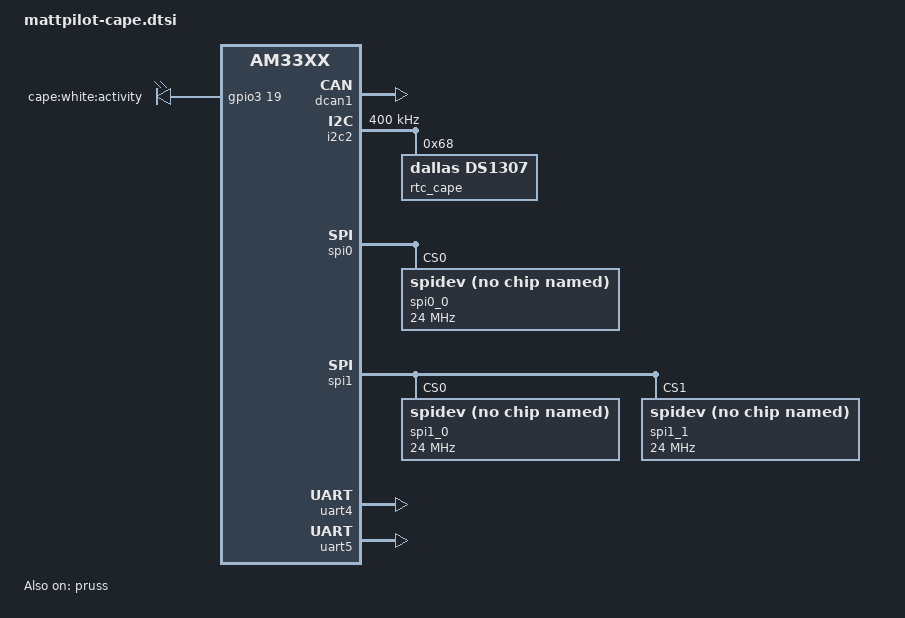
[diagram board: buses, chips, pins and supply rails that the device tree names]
#include "am33xx.dtsi"
#include "am335x-bone-common.dtsi"
#include <dt-bindings/board/am335x-bbw-bbb-base.h>
#include <dt-bindings/pinctrl/am33xx.h>

&am33xx_pinmux {
	dcan1_pins: pinmux_dcan1_pins {
		pinctrl-single,pins = <
			/* P9_26: uart1_rxd.d_can1_tx */
			BONE_P9_26 (PIN_OUTPUT_PULLUP | MUX_MODE2)
			/* P9_24: uart1_txd.d_can1_rx */
			BONE_P9_24 (PIN_INPUT_PULLUP | MUX_MODE2)
		>;
	};

	pru_pins: pinmux_pru_pins {
		pinctrl-single,pins = <
			0x03c 0x35	/* ecap0_in_pwm0_out.pr1_ecap0_ecap_capin, MODE5 | INPUT_PULLUP | PRU, PPM-sum, SBUS, DSM  */

			0x0e8 0x25	/* lcd_pclk.pr1_pru1_pru_r30_10, MODE5 | OUTPUT | PRU, CH_1 */
			0x0e0 0x25	/* lcd_vsync.pr1_pru1_pru_r30_8, MODE5 | OUTPUT | PRU, CH_2 */
			0x0ec 0x25	/* lcd_ac_bias_en.pr1_pru1_pru_r30_11, MODE5 | OUTPUT | PRU, CH_3 */
			0x0e4 0x25	/* lcd_hsync.pr1_pru1_pru_r30_9, MODE5 | OUTPUT | PRU, CH_4 */
			0x0bc 0x25	/* lcd_data7.pr1_pru1_pru_r30_7, MODE5 | OUTPUT | PRU, CH_5 */
			0x0b8 0x25	/* lcd_data6.pr1_pru1_pru_r30_6, MODE5 | OUTPUT | PRU, CH_6 */
			0x0b4 0x25	/* lcd_data5.pr1_pru1_pru_r30_5, MODE5 | OUTPUT | PRU, CH_7 */
			0x0b0 0x25	/* lcd_data4.pr1_pru1_pru_r30_4, MODE5 | OUTPUT | PRU, CH_8 */
			0x0ac 0x25	/* lcd_data3.pr1_pru1_pru_r30_3, MODE5 | OUTPUT | PRU, CH_9 */
			0x0a8 0x25	/* lcd_data2.pr1_pru1_pru_r30_2, MODE5 | OUTPUT | PRU, CH_10 */
			0x0a4 0x25	/* lcd_data1.pr1_pru1_pru_r30_1, MODE5 | OUTPUT | PRU, CH_11 */
			0x0a0 0x25	/* lcd_data0.pr1_pru1_pru_r30_0, MODE5 | OUTPUT | PRU, CH_12 */

			BONE_P8_12 (PIN_OUTPUT_PULLDOWN | MUX_MODE6) /* HC-SR04 TRIG */
			BONE_P8_16 (PIN_INPUT_PULLDOWN | MUX_MODE6) /* HC-SR04 ECHO */

			BONE_P9_25 (PIN_INPUT_PULLDOWN | MUX_MODE6) /* MPU9250 INT */
			>;
			
		};
		
	/* Matt */
	capeled_pins: pinmux_capeled_pins {
            pinctrl-single,pins = <
            0x1a4 0x7   /* gpio3_19 Cape led */
            >;
    };
    ctrl_pins: pinmux_ctrl_pins {
            pinctrl-single,pins = <
            0x3c  0xf   /* gpio1_15 Reset cards      | OUTPUT | NA | MODE7 */
            >;
    };

    timing_pins: pinmux_timing_pins {
            pinctrl-single,pins = <
            0x34 0x7    /* gpio1_13 sync out 100 Hz | OUTPUT | PULLDOWN |   */
            >;
    };
       
    i2c2_pins: pinmux_i2c2_pins {
            pinctrl-single,pins = <
            0x178 0x73  /* uart1_ctsn.i2c2_sda, SLEWCTRL_SLOW | INPUT_PULLUP | MODE3 */
            0x17c 0x73  /* uart1_rtsn.i2c2_scl, SLEWCTRL_SLOW | INPUT_PULLUP | MODE3 */
            >;
    };
    /* Matt End */

	spi0_pins: pinmux_spi0_pins {
		pinctrl-single,pins = <
			/* P9_22: spi0_sclk.spi0_sclk */
			BONE_P9_22 (PIN_INPUT_PULLUP | MUX_MODE0)
			/* P9_21: spi0_d0.spi0_d0 */
			BONE_P9_21 (PIN_INPUT_PULLUP | MUX_MODE0)
			/* P9_18: spi0_d1.spi0_d1 */
			BONE_P9_18 (PIN_OUTPUT_PULLUP | MUX_MODE0)
			/* P9_17: spi0_cs0.spi0_cs0 */
			BONE_P9_17 (PIN_OUTPUT_PULLUP | MUX_MODE0)
		>;
	};

	spi1_pins: pinmux_spi1_pins {
		pinctrl-single,pins = <
			/* P9_31: mcasp0_aclkx.spi1_sclk */
			BONE_P9_31 (PIN_INPUT_PULLUP | MUX_MODE3)

			/* P9_29: mcasp0_fsx.spi1_d0 */
			BONE_P9_29 (PIN_INPUT_PULLUP | MUX_MODE3)

			/* P9_30: mcasp0_axr0.spi1_d1 */
			BONE_P9_30 (PIN_OUTPUT_PULLUP | MUX_MODE3)

			/* P9_28: mcasp0_ahclkr.spi1_cs0 */
			BONE_P9_28 (PIN_OUTPUT_PULLUP | MUX_MODE3)

			/* P9_19: uart1_rtsn.spi1_cs1 */
/*			BONE_P9_19 (PIN_OUTPUT_PULLUP | MUX_MODE4)*/

			/* P9_42: ecap0_in_pwm0_out.spi1_cs1 */
			BONE_P9_42A (PIN_OUTPUT_PULLUP | MUX_MODE2)
		>;
	};

	uart4_pins: pinmux_uart4_pins {
		pinctrl-single,pins = <
			/* P9_11: gpmc_wait0.uart4_rxd_mux2 */
			BONE_P9_11 (PIN_INPUT_PULLUP | MUX_MODE6)
			/* P9_13: gpmc_wpn.uart4_txd_mux2  */
			BONE_P9_13 (PIN_OUTPUT_PULLDOWN | MUX_MODE6)
		>;
	};

	uart5_pins: pinmux_uart5_pins {
		pinctrl-single,pins = <
			/* P8_38: lcd_data9.uart5_rxd */
			BONE_P8_38 (PIN_INPUT_PULLUP | MUX_MODE4)
			/* P8_37: lcd_data8.uart5_txd */
			BONE_P8_37 (PIN_OUTPUT_PULLDOWN | MUX_MODE4)
		>;
	};
};

/* Matt */
&ocp {

		cape-leds {
			compatible = "gpio-leds";
			pinctrl-names = "default";
			pinctrl-0 = <&capeled_pins>;
			
			led0 {
				label = "cape:white:activity";
				gpios = <&gpio3 19 0>;	/* Why is the gpio here from 1 to 4? Not sense...*/
				default-state = "off";
				linux,default-trigger = "heartbeat";
			};
		};
		
		ctrl-pins {
			compatible = "bone-pinmux-helper";
			pinctrl-names = "default";
			pinctrl-0 = <&ctrl_pins>;
			status = "okay";
		};

		timing-pins {
			compatible = "bone-pinmux-helper";
			pinctrl-names = "default";
			pinctrl-0 = <&timing_pins>;
			status = "okay";
		};
};

&rtc {
	status = "disabled"; /* Disable BBB rtc for cape clock */
};
/* Matt End */

&dcan1 {
	pinctrl-names = "default";
	pinctrl-0 = <&dcan1_pins>;
	status = "okay";
};

&i2c2 {
	status = "okay";
	pinctrl-names = "default";
	pinctrl-0 = <&i2c2_pins>;

	clock-frequency = <400000>;
		
	rtc_cape: rtc@68 {
	compatible = "dallas,ds1307";
	reg = <0x68>;
	};
};

&spi0 {
	pinctrl-names = "default";
	pinctrl-0 = <&spi0_pins>;
	status = "okay";

	spi0_0 {
		#address-cells = <1>;
		#size-cells = <0>;
		spi-max-frequency = <24000000>;
		reg = <0>;
		compatible = "spidev";
	};
};

&spi1 {
	pinctrl-names = "default";
	pinctrl-0 = <&spi1_pins>;
	status = "okay";

	spi1_0 {
		#address-cells = <1>;
		#size-cells = <0>;
		reg = <0>;
		spi-max-frequency = <24000000>;
		compatible = "spidev";
	};

	spi1_1 {
		#address-cells = <1>;
		#size-cells = <0>;
		reg = <1>;
		spi-max-frequency = <24000000>;
		compatible = "spidev";
	};
};

&tscadc {
	adc {
		ti,adc-channels = <0 1>;
	};
};

&pruss {
	pinctrl-names = "default";
	pinctrl-0 = <&pru_pins>;
	status = "okay";
};

&uart4 {
	pinctrl-names = "default";
	pinctrl-0 = <&uart4_pins>;
	status = "okay";
};

&uart5 {
	pinctrl-names = "default";
	pinctrl-0 = <&uart5_pins>;
	status = "okay";
};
